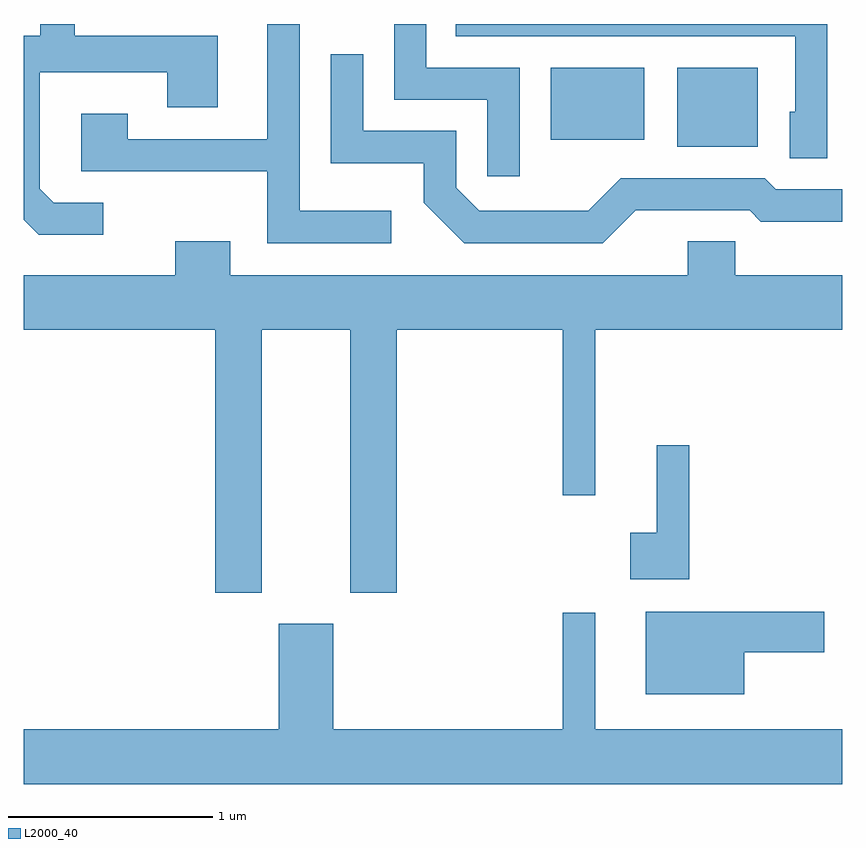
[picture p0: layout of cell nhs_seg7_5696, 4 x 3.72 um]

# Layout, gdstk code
import gdstk
lib = gdstk.Library(unit=1e-6, precision=1e-09)
def R(c, l, rs):  # rectangles x0, y0, x1, y1
    for r in rs: c.add(gdstk.rectangle(r[:2], r[2:], *l))
def P(c, l, *ps):  # polygons
    for p in ps: c.add(gdstk.Polygon(p, *l))
L2000_40 = (2000, 40)

nhs_seg7_5696 = lib.new_cell('nhs_seg7_5696')
R(nhs_seg7_5696, L2000_40, [(362.806,1719.651,363.199,1720.039), (362.186,1719.686,362.644,1720.039)])
P(nhs_seg7_5696, L2000_40, [(363.539,1720.252),(361.723,1720.252),(361.723,1720.191),(363.381,1720.191),(363.381,1719.824),(363.356,1719.824),(363.356,1719.596),(363.539,1719.596)],
  [(359.998,1719.379),(359.757,1719.379),(359.689,1719.447),(359.689,1720.016),(360.311,1720.016),(360.311,1719.846),(360.559,1719.846),(360.559,1720.194),(359.859,1720.194),(359.859,1720.252),(359.691,1720.252),(359.691,1720.194),(359.611,1720.194),(359.611,1719.294),(359.684,1719.221),(359.998,1719.221)],
  [(361.408,1719.339),(360.959,1719.339),(360.959,1720.252),(360.801,1720.252),(360.801,1719.689),(360.119,1719.689),(360.119,1719.814),(359.891,1719.814),(359.891,1719.531),(360.801,1719.531),(360.801,1719.181),(361.408,1719.181)],
  [(362.034,1720.039),(361.579,1720.039),(361.579,1720.252),(361.421,1720.252),(361.421,1719.881),(361.876,1719.881),(361.876,1719.508),(362.034,1719.508)],
  [(362.602,1719.341),(363.159,1719.341),(363.214,1719.286),(363.611,1719.286),(363.611,1719.444),(363.287,1719.444),(363.232,1719.499),(362.529,1719.499),(362.369,1719.339),(361.837,1719.339),(361.724,1719.452),(361.724,1719.729),(361.269,1719.729),(361.269,1720.103),(361.111,1720.103),(361.111,1719.571),(361.566,1719.571),(361.566,1719.379),(361.764,1719.181),(362.442,1719.181)],
  [(360.774,1718.756),(361.206,1718.756),(361.206,1717.471),(361.434,1717.471),(361.434,1718.756),(362.246,1718.756),(362.246,1717.948),(362.404,1717.948),(362.404,1718.756),(363.611,1718.756),(363.611,1719.024),(363.089,1719.024),(363.089,1719.189),(362.856,1719.189),(362.856,1719.024),(360.619,1719.024),(360.619,1719.189),(360.351,1719.189),(360.351,1719.024),(359.611,1719.024),(359.611,1718.756),(360.546,1718.756),(360.546,1717.471),(360.774,1717.471)],
  [(362.864,1718.193),(362.706,1718.193),(362.706,1717.764),(362.576,1717.764),(362.576,1717.536),(362.864,1717.536)],
  [(363.134,1717.181),(363.524,1717.181),(363.524,1717.379),(362.651,1717.379),(362.651,1716.976),(363.134,1716.976)],
  [(363.611,1716.804),(362.404,1716.804),(362.404,1717.373),(362.246,1717.373),(362.246,1716.804),(361.124,1716.804),(361.124,1717.319),(360.856,1717.319),(360.856,1716.804),(359.611,1716.804),(359.611,1716.536),(363.611,1716.536)])

lib.write_gds('nhs_seg7_5696.gds')
